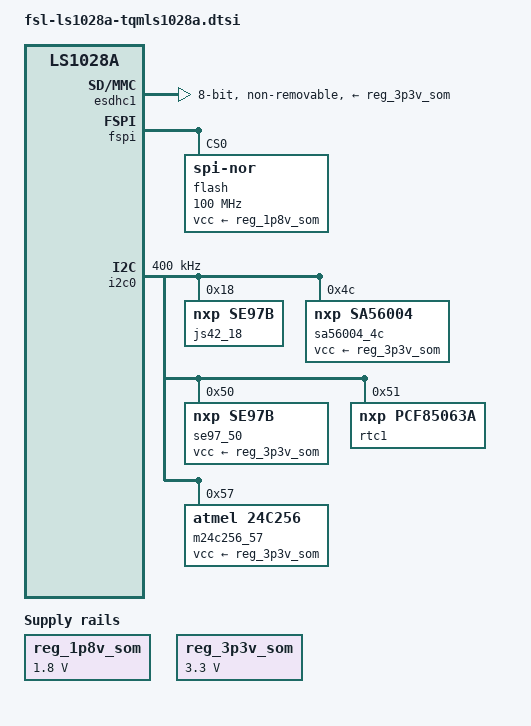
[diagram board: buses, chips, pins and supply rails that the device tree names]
// SPDX-License-Identifier: (GPL-2.0-or-later OR MIT)
/*
 * Copyright 2019-2025 TQ-Systems GmbH <linux@ew.tq-group.com>,
 * D-82229 Seefeld, Germany.
 * Author: Michael Krummsdorf
 * Author: Matthias Schiffer
 * Author: Alexander Stein
 */

#include "fsl-ls1028a.dtsi"

/ {
	compatible = "tq,ls1028a-tqmls1028a", "fsl,ls1028a";

	reg_1p8v_som: regulator-1p8v-som {
		compatible = "regulator-fixed";
		regulator-name = "1P8V_SOM";
		regulator-min-microvolt = <1800000>;
		regulator-max-microvolt = <1800000>;
		regulator-always-on;
	};

	reg_3p3v_som: regulator-3p3v-som {
		compatible = "regulator-fixed";
		regulator-name = "3P3V_SOM";
		regulator-min-microvolt = <3300000>;
		regulator-max-microvolt = <3300000>;
		regulator-always-on;
	};

	thermal-zones {
		/*
		 * TQMLS1028A uses an external temperature sensor
		 * instead of TMU
		 */
		/delete-node/ ddr-controller;

		cluster-thermal {
			thermal-sensors = <&sa56004_4c 1>;
		};
	};
};

&esdhc1 {
	no-sdio;
	no-sd;
	non-removable;
	mmc-hs200-1_8v;
	mmc-hs400-1_8v;
	mmc-ddr-1_8v;
	bus-width = <8>;
	vmmc-supply = <&reg_3p3v_som>;
	vqmmc-supply = <&reg_1p8v_som>;
	status = "okay";
};

&fspi {
	status = "okay";

	flash@0 {
		compatible = "jedec,spi-nor";
		reg = <0>;
		spi-max-frequency = <100000000>;
		spi-tx-bus-width = <4>;
		spi-rx-bus-width = <4>;
		vcc-supply = <&reg_1p8v_som>;

		partitions {
			compatible = "fixed-partitions";
			#address-cells = <1>;
			#size-cells = <1>;
		};
	};
};

&i2c0 {
	clock-frequency = <400000>;
	status = "okay";

	js42_18: temperature-sensor@18 {
		compatible = "nxp,se97b", "jedec,jc-42.4-temp";
		reg = <0x18>;
	};

	sa56004_4c: temperature-sensor@4c {
		compatible = "nxp,sa56004";
		reg = <0x4c>;
		#thermal-sensor-cells = <1>;
		vcc-supply = <&reg_3p3v_som>;
	};

	se97_50: eeprom@50 {
		compatible = "nxp,se97b", "atmel,24c02";
		read-only;
		reg = <0x50>;
		pagesize = <16>;
		vcc-supply = <&reg_3p3v_som>;
	};

	rtc1: rtc@51 {
		compatible = "nxp,pcf85063a";
		reg = <0x51>;
		quartz-load-femtofarads = <12500>;
	};

	m24c256_57: eeprom@57 {
		compatible = "atmel,24c256";
		reg = <0x57>;
		pagesize = <32>;
		vcc-supply = <&reg_3p3v_som>;
	};
};

/*
 * We use a separate sensor IC to measure core temperature. Disable the TMU
 * as its driver can cause log spam outside of its measurement range (0-125C).
 *
 * Will have to be reevaluated if this DTS is ported to a mainline kernel,
 * as both sensors of the TMU are referenced by the default LS1028A
 * thermal-zones definitions there.
 */
&tmu {
	status = "disabled";
};
